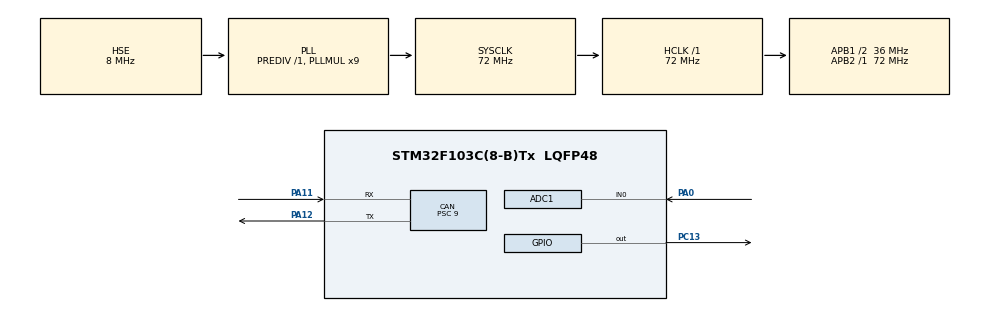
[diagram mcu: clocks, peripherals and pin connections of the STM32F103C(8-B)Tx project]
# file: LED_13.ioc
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ADC1.Channel-0\#ChannelRegularConversion=ADC_CHANNEL_0
ADC1.NbrOfConversionFlag=1
ADC1.Rank-0\#ChannelRegularConversion=1
ADC1.SamplingTime-0\#ChannelRegularConversion=ADC_SAMPLETIME_1CYCLE_5
ADC1.master=1
CAN.BS1=CAN_BS1_9TQ
CAN.BS2=CAN_BS2_6TQ
CAN.CalculateTimeBit=750
CAN.CalculateTimeQuantum=250.0
CAN.Prescaler=9
Mcu.Family=STM32F1
Mcu.Name=STM32F103C(8-B)Tx
Mcu.Package=LQFP48
NVIC.ADC1_2_IRQn=true\:0\:0\:false\:false\:true\:true
NVIC.CAN1_RX1_IRQn=true\:0\:0\:false\:false\:true\:true
NVIC.CAN1_SCE_IRQn=true\:0\:0\:false\:false\:true\:true
NVIC.PriorityGroup=NVIC_PRIORITYGROUP_4
NVIC.USB_HP_CAN1_TX_IRQn=true\:0\:0\:false\:false\:true\:true
NVIC.USB_LP_CAN1_RX0_IRQn=true\:0\:0\:false\:false\:true\:true
PA0-WKUP.Signal=ADCx_IN0
PA11.Mode=Master
PA11.Signal=CAN_RX
PA12.Mode=Master
PA12.Signal=CAN_TX
PA13.Mode=Serial_Wire
PA13.Signal=SYS_JTMS-SWDIO
PA14.Mode=Serial_Wire
PA14.Signal=SYS_JTCK-SWCLK
PC13-TAMPER-RTC.Signal=GPIO_Output
PD0-OSC_IN.Mode=HSE-External-Oscillator
PD0-OSC_IN.Signal=RCC_OSC_IN
PD1-OSC_OUT.Mode=HSE-External-Oscillator
PD1-OSC_OUT.Signal=RCC_OSC_OUT
ProjectManager.HeapSize=0x200
ProjectManager.StackSize=0x400
ProjectManager.TargetToolchain=MDK-ARM V5
RCC.ADCPresc=RCC_ADCPCLK2_DIV6
RCC.AHBFreq_Value=72000000
RCC.APB1CLKDivider=RCC_HCLK_DIV2
RCC.APB1Freq_Value=36000000
RCC.APB1TimFreq_Value=72000000
RCC.APB2Freq_Value=72000000
RCC.APB2TimFreq_Value=72000000
RCC.HCLKFreq_Value=72000000
RCC.PLLMUL=RCC_PLL_MUL9
RCC.PLLSourceVirtual=RCC_PLLSOURCE_HSE
RCC.SYSCLKFreq_VALUE=72000000
RCC.SYSCLKSource=RCC_SYSCLKSOURCE_PLLCLK
RCC.USBFreq_Value=72000000
SH.ADCx_IN0.0=ADC1_IN0,IN0
board=custom

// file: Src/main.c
/**
  ******************************************************************************
  * @file           : main.c
  * @brief          : Main program body
  ******************************************************************************
  ** This notice applies to any and all portions of this file
  * that are not between comment pairs USER CODE BEGIN and
  * USER CODE END. Other portions of this file, whether
  * inserted by the user or by software development tools
  * are owned by their respective copyright owners.
  *
  * COPYRIGHT(c) 2018 STMicroelectronics
  *
  * Redistribution and use in source and binary forms, with or without modification,
  * are permitted provided that the following conditions are met:
  *   1. Redistributions of source code must retain the above copyright notice,
  *      this list of conditions and the following disclaimer.
  *   2. Redistributions in binary form must reproduce the above copyright notice,
  *      this list of conditions and the following disclaimer in the documentation
  *      and/or other materials provided with the distribution.
  *   3. Neither the name of STMicroelectronics nor the names of its contributors
  *      may be used to endorse or promote products derived from this software
  *      without specific prior written permission.
  *
  * THIS SOFTWARE IS PROVIDED BY THE COPYRIGHT HOLDERS AND CONTRIBUTORS "AS IS"
  * AND ANY EXPRESS OR IMPLIED WARRANTIES, INCLUDING, BUT NOT LIMITED TO, THE
  * IMPLIED WARRANTIES OF MERCHANTABILITY AND FITNESS FOR A PARTICULAR PURPOSE ARE
  * DISCLAIMED. IN NO EVENT SHALL THE COPYRIGHT HOLDER OR CONTRIBUTORS BE LIABLE
  * FOR ANY DIRECT, INDIRECT, INCIDENTAL, SPECIAL, EXEMPLARY, OR CONSEQUENTIAL
  * DAMAGES (INCLUDING, BUT NOT LIMITED TO, PROCUREMENT OF SUBSTITUTE GOODS OR
  * SERVICES; LOSS OF USE, DATA, OR PROFITS; OR BUSINESS INTERRUPTION) HOWEVER
  * CAUSED AND ON ANY THEORY OF LIABILITY, WHETHER IN CONTRACT, STRICT LIABILITY,
  * OR TORT (INCLUDING NEGLIGENCE OR OTHERWISE) ARISING IN ANY WAY OUT OF THE USE
  * OF THIS SOFTWARE, EVEN IF ADVISED OF THE POSSIBILITY OF SUCH DAMAGE.
  *
  ******************************************************************************
  */
#include "main.h"
#include "stm32f1xx_hal.h"
#include "adc.h"
#include "can.h"
#include "gpio.h"

/* USER CODE BEGIN PV */
/* Private variables ---------------------------------------------------------*/

/* USER CODE END PV */

void SystemClock_Config(void);

/* USER CODE BEGIN PFP */
/* Private function prototypes -----------------------------------------------*/

/* USER CODE END PFP */

/* USER CODE BEGIN 0 */
#include <stdio.h>
#include "LED_13.h"                    /* Model's header file */
#include "rtwtypes.h"                  /* MathWorks types */

/* Real-time model */
extern RT_MODEL_LED_13 *const LED_13_M;

/* Set which subrates need to run this base step (base rate always runs).*/
/* Defined in LED_13.c file */
extern void LED_13_SetEventsForThisBaseStep(boolean_T*);

/* Flags for taskOverrun */
static boolean_T OverrunFlags[2];

/* Number of auto reload timer rotation computed */
static volatile uint32_t autoReloadTimerLoopVal_S = 1;

/* Remaining number of auto reload timer rotation to do */
static volatile uint32_t remainAutoReloadTimerLoopVal_S = 1;

/* USER CODE END 0 */

int main(void)
{
  /* USER CODE BEGIN 1 */
  /* Data initialization */
  int_T i;
  boolean_T eventFlags[2];             /* Model has 2 rates */

  /* USER CODE END 1 */

  /* MCU Configuration----------------------------------------------------------*/

  /* Reset of all peripherals, Initializes the Flash interface and the Systick. */
  HAL_Init();

  /* Configure the system clock */
  SystemClock_Config();

  /* Initialize all configured peripherals */
  MX_GPIO_Init();
  MX_ADC1_Init();
  MX_CAN_Init();
  /* USER CODE BEGIN 2 */
  /* Systick configuration and enable SysTickHandler interrupt */
  if (SysTick_Config((uint32_t)(SystemCoreClock * 0.001))) {
    autoReloadTimerLoopVal_S = 1;
    do {
      autoReloadTimerLoopVal_S++;
    } while ((uint32_t)(SystemCoreClock * 0.001)/autoReloadTimerLoopVal_S >
             SysTick_LOAD_RELOAD_Msk);

    SysTick_Config((uint32_t)(SystemCoreClock * 0.001)/autoReloadTimerLoopVal_S);
  }

  remainAutoReloadTimerLoopVal_S = autoReloadTimerLoopVal_S;//Set nb of loop to do

  /* USER CODE END 2 */

  /* Infinite loop */
  /* USER CODE BEGIN WHILE */
  for (i=0;i<2;i++) {
    OverrunFlags[i] = 0;
  }

  /* Model initialization call */
  LED_13_initialize();

  /* Infinite loop */
  /* Real time from systickHandler */
  while (1) {
    /*Process tasks every solver time*/
    if (remainAutoReloadTimerLoopVal_S == 0) {
      remainAutoReloadTimerLoopVal_S = autoReloadTimerLoopVal_S;

      /* Check base rate for overrun */
      if (OverrunFlags[0]) {
        rtmSetErrorStatus(LED_13_M, "Overrun");
      }

      OverrunFlags[0] = true;

      /*
       * For a bare-board target (i.e., no operating system), the rates
       * that execute this base step are buffered locally to allow for
       * overlapping preemption.  The generated code includes function
       * writeCodeInfoFcn() which sets the rates
       * that need to run this time step.  The return values are 1 and 0
       * for true and false, respectively.
       */
      LED_13_SetEventsForThisBaseStep(eventFlags);

      /* Step the model for base rate */
      LED_13_step(0);

      /* Get model outputs here */

      /* Indicate task for base rate complete */
      OverrunFlags[0] = false;

      /* Step the model for any subrate */
      for (i = 1; i < 2; i++) {
        if (eventFlags[i]) {
          if (OverrunFlags[i]) {
            rtmSetErrorStatus(LED_13_M, "Overrun");
          }

          OverrunFlags[i] = true;

          /* Step the model for subrate "i" */
          LED_13_step(i);

          /* Indicate task complete for sample time "i" */
          OverrunFlags[i] = false;
        }
      }
    }
  }

  /* USER CODE END WHILE */

}

void SystemClock_Config(void)
{

  RCC_OscInitTypeDef RCC_OscInitStruct;
  RCC_ClkInitTypeDef RCC_ClkInitStruct;
  RCC_PeriphCLKInitTypeDef PeriphClkInit;

    /**Initializes the CPU, AHB and APB busses clocks
    */
  RCC_OscInitStruct.OscillatorType = RCC_OSCILLATORTYPE_HSE;
  RCC_OscInitStruct.HSEState = RCC_HSE_ON;
  RCC_OscInitStruct.HSEPredivValue = RCC_HSE_PREDIV_DIV1;
  RCC_OscInitStruct.HSIState = RCC_HSI_ON;
  RCC_OscInitStruct.PLL.PLLState = RCC_PLL_ON;
  RCC_OscInitStruct.PLL.PLLSource = RCC_PLLSOURCE_HSE;
  RCC_OscInitStruct.PLL.PLLMUL = RCC_PLL_MUL9;
  if (HAL_RCC_OscConfig(&RCC_OscInitStruct) != HAL_OK)
  {
    _Error_Handler(__FILE__, __LINE__);
  }

    /**Initializes the CPU, AHB and APB busses clocks
    */
  RCC_ClkInitStruct.ClockType = RCC_CLOCKTYPE_HCLK|RCC_CLOCKTYPE_SYSCLK
                              |RCC_CLOCKTYPE_PCLK1|RCC_CLOCKTYPE_PCLK2;
  RCC_ClkInitStruct.SYSCLKSource = RCC_SYSCLKSOURCE_PLLCLK;
  RCC_ClkInitStruct.AHBCLKDivider = RCC_SYSCLK_DIV1;
  RCC_ClkInitStruct.APB1CLKDivider = RCC_HCLK_DIV2;
  RCC_ClkInitStruct.APB2CLKDivider = RCC_HCLK_DIV1;

  if (HAL_RCC_ClockConfig(&RCC_ClkInitStruct, FLASH_LATENCY_2) != HAL_OK)
  {
    _Error_Handler(__FILE__, __LINE__);
  }

  PeriphClkInit.PeriphClockSelection = RCC_PERIPHCLK_ADC;
  PeriphClkInit.AdcClockSelection = RCC_ADCPCLK2_DIV6;
  if (HAL_RCCEx_PeriphCLKConfig(&PeriphClkInit) != HAL_OK)
  {
    _Error_Handler(__FILE__, __LINE__);
  }

    /**Configure the Systick interrupt time
    */
  HAL_SYSTICK_Config(HAL_RCC_GetHCLKFreq()/1000);

    /**Configure the Systick
    */
  HAL_SYSTICK_CLKSourceConfig(SYSTICK_CLKSOURCE_HCLK);

  /* SysTick_IRQn interrupt configuration */
  HAL_NVIC_SetPriority(SysTick_IRQn, 0, 0);
}

/* USER CODE BEGIN 4 */
/****************************************************
   SysTick_Handler callback function
   This handler is called every tick and schedules tasks
 *****************************************************/
void HAL_SYSTICK_Callback(void)
{
  /* For TIME OUT processing */
  HAL_IncTick();

  /* Manage nb of loop before interrupt has to be processed */
  if (remainAutoReloadTimerLoopVal_S) {
    remainAutoReloadTimerLoopVal_S--;
  }
}

/* USER CODE END 4 */

void _Error_Handler(char *file, int line)
{
  while(1)
  {
  }
}

/************************ (C) COPYRIGHT STMicroelectronics *****END OF FILE****/
